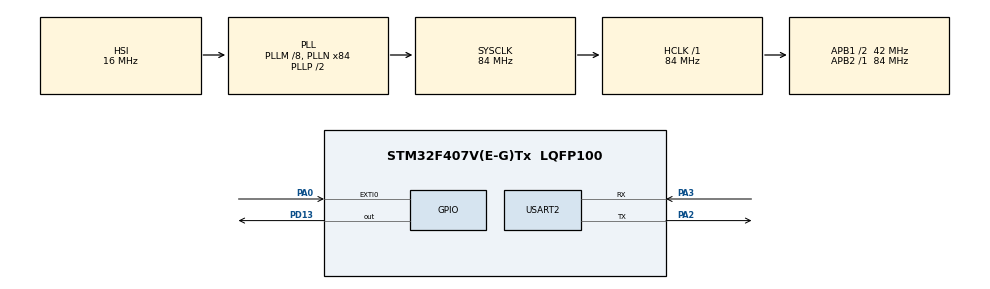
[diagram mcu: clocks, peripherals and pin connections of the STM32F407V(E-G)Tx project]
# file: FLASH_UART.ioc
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Mcu.Family=STM32F4
Mcu.Name=STM32F407V(E-G)Tx
Mcu.Package=LQFP100
NVIC.EXTI0_IRQn=true\:1\:0\:true\:false\:true
NVIC.PriorityGroup=NVIC_PRIORITYGROUP_4
NVIC.USART2_IRQn=true\:2\:0\:true\:false\:true
PA0-WKUP.Signal=GPXTI0
PA13.Mode=Serial-Wire
PA13.Signal=SYS_JTMS-SWDIO
PA14.Mode=Serial-Wire
PA14.Signal=SYS_JTCK-SWCLK
PA2.Mode=Asynchronous
PA2.Signal=USART2_TX
PA3.Mode=Asynchronous
PA3.Signal=USART2_RX
PD13.Signal=GPIO_Output
ProjectManager.HeapSize=0x200
ProjectManager.StackSize=0x400
ProjectManager.TargetToolchain=MDK-ARM V5
RCC.48MHZClocksFreq_Value=42000000
RCC.AHBFreq_Value=84000000
RCC.APB1CLKDivider=RCC_HCLK_DIV2
RCC.APB1Freq_Value=42000000
RCC.APB1TimFreq_Value=84000000
RCC.APB2Freq_Value=84000000
RCC.APB2TimFreq_Value=84000000
RCC.CortexFreq_Value=84000000
RCC.HCLKFreq_Value=84000000
RCC.HSE_VALUE=25000000
RCC.HSI_VALUE=16000000
RCC.LSE_VALUE=32768
RCC.PLLM=8
RCC.PLLN=84
RCC.SYSCLKFreq_VALUE=84000000
RCC.SYSCLKSource=RCC_SYSCLKSOURCE_PLLCLK
RCC.VCOOutputFreq_Value=168000000
board=FLASH_UART

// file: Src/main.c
#include "stm32f4xx_hal.h"

/* USER CODE BEGIN Includes */
#include <string.h>
#include "MY_FLASH.h"

#define TRUE_COMPLETE 	1
#define FALSE_COMPLETE 	0
#define LENGTH 10
/* USER CODE END Includes */

UART_HandleTypeDef huart2;

/* USER CODE BEGIN PV */
/* Private variables ---------------------------------------------------------*/
char* startString = "START\r\n";
uint32_t len_of_data = 0, count = 0, preCount = 0;
uint8_t data_buffer[LENGTH], flash_buffer[LENGTH];
uint8_t recv_byte = 0;	//temp byte received by UART
uint8_t rx_complete = FALSE_COMPLETE, exti_complete = FALSE_COMPLETE;

/* USER CODE END PV */

void SystemClock_Config(void);
static void MX_GPIO_Init(void);
static void MX_USART2_UART_Init(void);

/* USER CODE BEGIN PFP */
/* Private function prototypes -----------------------------------------------*/
void HAL_UART_RxCpltCallback(UART_HandleTypeDef *huart)
{
	if(huart->Instance == huart2.Instance)
	{
		if(recv_byte == '@') //byte key == @
		{
			rx_complete = TRUE_COMPLETE;
//			data_buffer[count++] = '@';	//comment = not save byte key
			HAL_UART_Transmit(huart, data_buffer, count, HAL_MAX_DELAY);
		}
		else data_buffer[count++] = recv_byte;
	}
}
void HAL_GPIO_EXTI_Callback(uint16_t GPIO_Pin)
{
	HAL_Delay(100); //debounce
	if(GPIO_Pin == GPIO_PIN_0)
	{
		exti_complete = TRUE_COMPLETE;
	}
}
/* USER CODE END PFP */

int main(void)
{

  /* USER CODE BEGIN 1 */
	uint8_t u8Var = 0x02, u8ReadVar = 0;
	uint8_t u8Arr[3] = {0x01, 0x02, 0x03}, u8ArrRead[3]={0};
	uint16_t u16Var = 0x3456, u16ReadVar = 0;
	uint32_t u32Var = 0x31, u32ReadVar = 0;
  /* USER CODE END 1 */

  /* MCU Configuration----------------------------------------------------------*/

  /* Reset of all peripherals, Initializes the Flash interface and the Systick. */
  HAL_Init();

  /* Configure the system clock */
  SystemClock_Config();

  /* Initialize all configured peripherals */
  MX_GPIO_Init();
  MX_USART2_UART_Init();

  /* USER CODE BEGIN 2 */
				/*Start*/
	len_of_data = strlen(startString);
	HAL_UART_Transmit(&huart2,(uint8_t*) startString, len_of_data, HAL_MAX_DELAY);
	//SELECT sector to work
	MY_FLASH_SetSectorAddrs(1, SECTORADD_1);

		//TEST FLASH
//	MY_FLASH_WriteN(0x00000002, u8Arr, 3, DATA_TYPE_8);
//	MY_FLASH_WriteN(0x00000002, &u8Var, 1, DATA_TYPE_8);
//	MY_FLASH_WriteN(0x00000004, &u16Var, 1, DATA_TYPE_16);
//	MY_FLASH_WriteN(0x00000004, &u32Var, 1, DATA_TYPE_32);
//	HAL_Delay(500);
//	MY_FLASH_ReadN(0x02, u8ArrRead, 3, DATA_TYPE_8);
//	MY_FLASH_ReadN(0x00000002, &u8ReadVar, 1, DATA_TYPE_8);
//	MY_FLASH_ReadN(0x00000004, &u16ReadVar, 1, DATA_TYPE_16);
//	MY_FLASH_ReadN(0x00000004, &u32ReadVar, 1, DATA_TYPE_32);
  /* USER CODE END 2 */

  /* Infinite loop */
  /* USER CODE BEGIN WHILE */
  while (1)
  {
				//continous receive data if not RX COMPLETE
			if(rx_complete != TRUE_COMPLETE) HAL_UART_Receive_IT(&huart2, &recv_byte, 1);
				//if RX complete
			if(rx_complete == TRUE_COMPLETE)
			{
				MY_FLASH_WriteN(0x00000002, data_buffer, count, DATA_TYPE_8);//save data to Flash
				preCount = count;	//save pre number of
				rx_complete = FALSE_COMPLETE;
				count = 0;
			}
			//if press btn
			if(exti_complete == TRUE_COMPLETE)
			{
				MY_FLASH_ReadN(0x00000002, flash_buffer, preCount, DATA_TYPE_8);
//				HAL_Delay(200);
				HAL_UART_Transmit(&huart2, flash_buffer, preCount, HAL_MAX_DELAY);
				exti_complete = FALSE_COMPLETE;
			}
  /* USER CODE END WHILE */

  }

}

/** System Clock Configuration
*/
void SystemClock_Config(void)
{

  RCC_OscInitTypeDef RCC_OscInitStruct;
  RCC_ClkInitTypeDef RCC_ClkInitStruct;

  __HAL_RCC_PWR_CLK_ENABLE();

  __HAL_PWR_VOLTAGESCALING_CONFIG(PWR_REGULATOR_VOLTAGE_SCALE1);

  RCC_OscInitStruct.OscillatorType = RCC_OSCILLATORTYPE_HSI;
  RCC_OscInitStruct.HSIState = RCC_HSI_ON;
  RCC_OscInitStruct.HSICalibrationValue = 16;
  RCC_OscInitStruct.PLL.PLLState = RCC_PLL_ON;
  RCC_OscInitStruct.PLL.PLLSource = RCC_PLLSOURCE_HSI;
  RCC_OscInitStruct.PLL.PLLM = 8;
  RCC_OscInitStruct.PLL.PLLN = 84;
  RCC_OscInitStruct.PLL.PLLP = RCC_PLLP_DIV2;
  RCC_OscInitStruct.PLL.PLLQ = 4;
  HAL_RCC_OscConfig(&RCC_OscInitStruct);

  RCC_ClkInitStruct.ClockType = RCC_CLOCKTYPE_HCLK|RCC_CLOCKTYPE_SYSCLK
                              |RCC_CLOCKTYPE_PCLK1|RCC_CLOCKTYPE_PCLK2;
  RCC_ClkInitStruct.SYSCLKSource = RCC_SYSCLKSOURCE_PLLCLK;
  RCC_ClkInitStruct.AHBCLKDivider = RCC_SYSCLK_DIV1;
  RCC_ClkInitStruct.APB1CLKDivider = RCC_HCLK_DIV2;
  RCC_ClkInitStruct.APB2CLKDivider = RCC_HCLK_DIV1;
  HAL_RCC_ClockConfig(&RCC_ClkInitStruct, FLASH_LATENCY_2);

  HAL_SYSTICK_Config(HAL_RCC_GetHCLKFreq()/1000);

  HAL_SYSTICK_CLKSourceConfig(SYSTICK_CLKSOURCE_HCLK);

  /* SysTick_IRQn interrupt configuration */
  HAL_NVIC_SetPriority(SysTick_IRQn, 0, 0);
}

/* USART2 init function */
void MX_USART2_UART_Init(void)
{

  huart2.Instance = USART2;
  huart2.Init.BaudRate = 115200;
  huart2.Init.WordLength = UART_WORDLENGTH_8B;
  huart2.Init.StopBits = UART_STOPBITS_1;
  huart2.Init.Parity = UART_PARITY_NONE;
  huart2.Init.Mode = UART_MODE_TX_RX;
  huart2.Init.HwFlowCtl = UART_HWCONTROL_NONE;
  huart2.Init.OverSampling = UART_OVERSAMPLING_16;
  HAL_UART_Init(&huart2);

}

/** Configure pins as
        * Analog
        * Input
        * Output
        * EVENT_OUT
        * EXTI
*/
void MX_GPIO_Init(void)
{

  GPIO_InitTypeDef GPIO_InitStruct;

  /* GPIO Ports Clock Enable */
  __HAL_RCC_GPIOA_CLK_ENABLE();
  __HAL_RCC_GPIOD_CLK_ENABLE();

  /*Configure GPIO pin : PA0 */
  GPIO_InitStruct.Pin = GPIO_PIN_0;
  GPIO_InitStruct.Mode = GPIO_MODE_IT_RISING;
  GPIO_InitStruct.Pull = GPIO_NOPULL;
  HAL_GPIO_Init(GPIOA, &GPIO_InitStruct);

  /*Configure GPIO pin : PD13 */
  GPIO_InitStruct.Pin = GPIO_PIN_13;
  GPIO_InitStruct.Mode = GPIO_MODE_OUTPUT_PP;
  GPIO_InitStruct.Pull = GPIO_NOPULL;
  GPIO_InitStruct.Speed = GPIO_SPEED_FREQ_LOW;
  HAL_GPIO_Init(GPIOD, &GPIO_InitStruct);

  /*Configure GPIO pin Output Level */
  HAL_GPIO_WritePin(GPIOD, GPIO_PIN_13, GPIO_PIN_RESET);

  /* EXTI interrupt init*/
  HAL_NVIC_SetPriority(EXTI0_IRQn, 1, 0);
  HAL_NVIC_EnableIRQ(EXTI0_IRQn);

}

/************************ (C) COPYRIGHT STMicroelectronics *****END OF FILE****/
